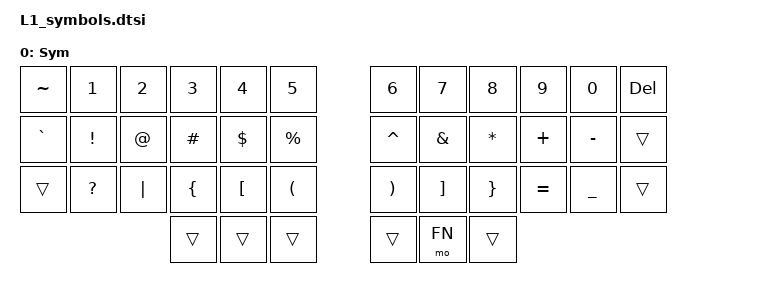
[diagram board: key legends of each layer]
/**
 * Symbols, Numbers, and Navigation Layer
 * Optimized for quick access to symbols and numbers
 */

/ {
  keymap {
    compatible = "zmk,keymap";

    layer_2 {
      display-name = "Sym";
      bindings = <
// ╭───────────────┬───────────────┬───────────────┬───────────────┬───────────────┬───────────────╮   ╭───────────────┬───────────────┬───────────────┬───────────────┬───────────────┬───────────────╮
// │0              │1              │2              │3              │4              │5              │   │6              │7              │8              │9              │10             │11             │
    &kp TILDE       &kp N1          &kp N2          &kp N3          &kp N4          &kp N5              &kp N6          &kp N7          &kp N8          &kp N9          &kp N0          &kp DEL
// ├───────────────├───────────────┼───────────────┼───────────────┼───────────────┼───────────────┤   ├───────────────├───────────────┼───────────────┼───────────────┼───────────────┼───────────────┤
// │12             │13  !          │14  @          │15  #          │16  $          │17  %          │   │18  ^          │19  &          │20  *          │21  +          │22  -          │23             │
    &kp GRAVE       &kp EXCL        &kp AT          &kp HASH        &kp DOLLAR      &kp PERCENT         &kp CARET       &kp AMPERSAND   &kp STAR        &kp PLUS        &kp MINUS       &trans
// ├───────────────├───────────────┼───────────────┼───────────────┼───────────────┼───────────────┤   ├───────────────├───────────────┼───────────────┼───────────────┼───────────────┼───────────────┤
// │24             │25  ?          │26  |          │27  {          │28  [          │29  (          │   │30  )          │31  ]          │32  }          │33  =          │34  _          │35             │
    &trans          &kp QMARK       &kp PIPE        &kp LBRC        &kp LBKT        &kp LPAR            &kp RPAR        &kp RBKT        &kp RBRC        &kp EQUAL       &kp UNDER       &trans 
// ╰───────────────┴───────────────┴───────────────┼───────────────┼───────────────┼───────────────┤   ├───────────────├───────────────┼───────────────┼───────────────┴───────────────┴───────────────╯
//                                                 │36             │37             │38             │   │39             │40             │41             │
                                                    &trans          &trans          &trans              &trans          &mo FN          &trans
//                                                 ╰───────────────┴───────────────┴───────────────╯   ╰───────────────┴───────────────┴───────────────╯
      >;
    };
  };
};
